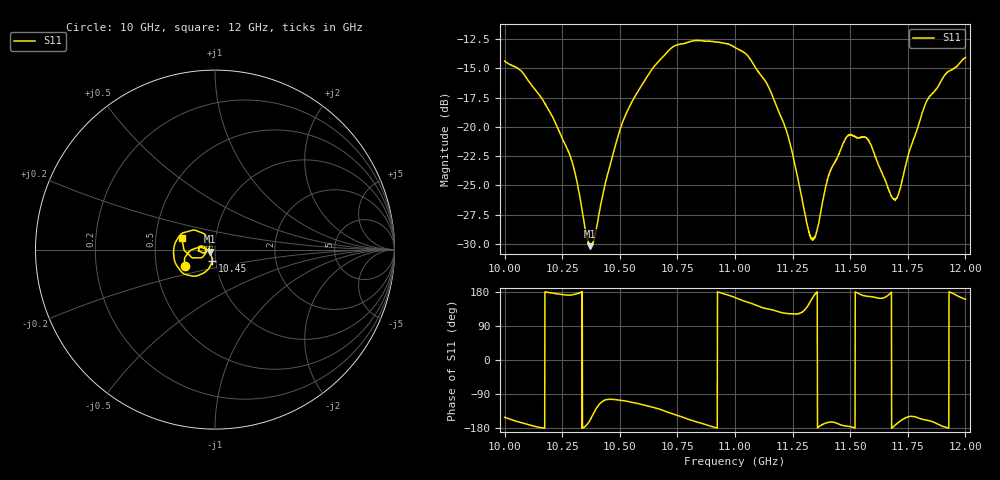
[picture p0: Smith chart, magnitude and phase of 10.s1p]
[Version] 2.0
! Rohde & Schwarz Vector Network Analyzer
! Rohde-Schwarz,ZNL20-2Port,1323001220200009,1.71.1.10-23.02.1.238
! Port Assignments:
! Nominal Port -> Actual Test Port
!  1 -> 1
! Created: GMT 2024-08-27 12:51:31
# Hz S DB R 50
[Number of Ports] 1
! freq[Hz]  S11[mag dB]  S11[ang]
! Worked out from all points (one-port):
!   2001 points, 10 GHz to 12 GHz, reference 50 ohm
!   lowest |S11| = -30.2 dB at 10.37 GHz (marker M1), VSWR 1.06, Z = 47.2 - j1.13 ohm
!   |S11| at or under -10 dB: start of sweep to end of sweep
!   S11 on the Smith chart (normalised r, x): 10 GHz: 0.70, -0.13; 10.45 GHz: 0.96, -0.12; 12 GHz: 0.68, +0.09
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[Number of Frequencies] 28
[Network Data]
1e10  -14.39 -151.4
1.0083e10  -15.49 -167.0
1.025e10  -20.98 172.8
1.0299e10  -23.40 172.5
1.0355e10  -29.25 -172.2
1.0372e10  -30.20 -157.2
1.0392e10  -29.24 -134.2
1.0453e10  -23.65 -103.8
1.05e10  -20.29 -106.0
1.0629e10  -15.40 -122.7
1.075e10  -12.99 -146.1
1.0873e10  -12.68 -170.5
1.1e10  -13.22 164.8
1.1055e10  -13.92 152.6
1.114e10  -16.39 135.1
1.1217e10  -20.02 123.4
1.125e10  -22.32 121.7
1.1317e10  -28.62 143.6
1.1339e10  -29.66 166.0
1.1357e10  -28.74 179.8
1.141e10  -23.95 -163.8
1.15e10  -20.66 -175.7
1.1578e10  -21.10 168.0
1.169e10  -26.18 -174.6
1.1711e10  -25.69 -164.2
1.175e10  -22.60 -150.0
1.1837e10  -17.64 -159.2
1.2e10  -14.08 160.3
[End]
